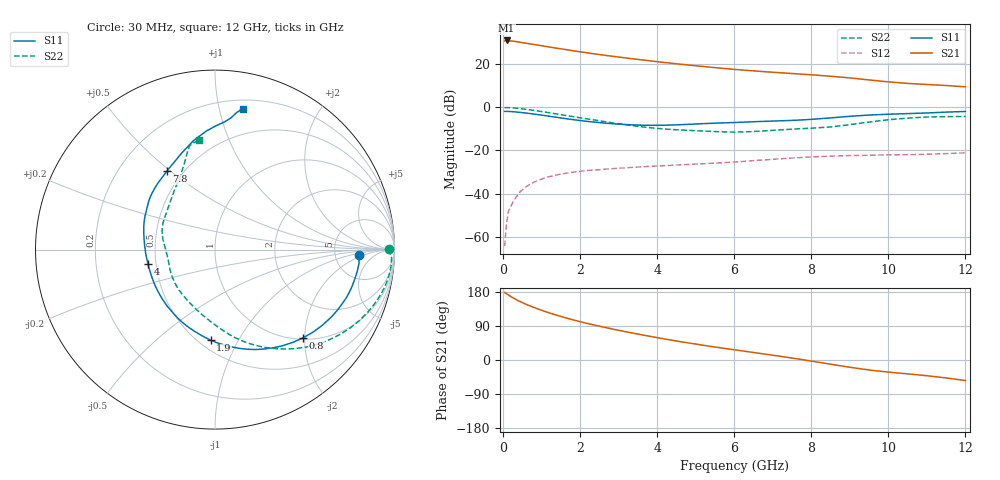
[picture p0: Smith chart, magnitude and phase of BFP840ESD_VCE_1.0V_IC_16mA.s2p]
! Infineon Technologies  Discrete & RF Semiconductors
! BFP840ESD
! VCE =  1.0 V,  IC =  16 mA
! Common Emitter S-Parameters:  May 2012
# GHz  S  MA  R  50
!  f  S11  S21  S12  S22
! GHz  MAG  ANG  MAG  ANG  MAG  ANG  MAG  ANG
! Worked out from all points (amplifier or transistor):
!   93 points, 30 MHz to 12 GHz, reference 50 ohm
!   highest |S21| = 31.0 dB at 80 MHz (marker M1)
!   |S21| within 3 dB of that: start of sweep to 1.177 GHz
!   unconditionally stable (mu >= 1): 4.988 GHz to 9.754 GHz
!   at 1.1 GHz: K = 0.36, MSG = 30.4 dB, |S12| = -32.6 dB
!   at 4.2 GHz: K = 0.92, MSG = 23.9 dB, |S12| = -27.1 dB
!   at 12 GHz: K = 0.78, MSG = 15.3 dB, |S12| = -21.1 dB
!   S11 on the Smith chart (normalised r, x): 30 MHz: 8.95, -1.41; 800 MHz: 1.03, -1.96; 1.9 GHz: 0.57, -0.77; 4 GHz: 0.45, -0.08; 7.8 GHz: 0.41, +0.49; 12 GHz: 0.27, +1.18
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0.03  0.8034 -2.0  34.56 178.2  0.0006 82.8  0.9703 0.2
0.08  0.8062 -5.2  35.56 174.7  0.002 74.3  0.9852 -2.7
0.23  0.7916 -14.5  34.34 165.1  0.006 80.4  0.9741 -10.6
0.38  0.7697 -23.2  32.8 156.7  0.0096 76.1  0.9456 -17.4
0.6  0.7327 -34.9  30.55 146.4  0.0146 69.3  0.8948 -26.4
0.8  0.6948 -45.0  28.61 138.3  0.0184 64.2  0.8454 -33.7
1  0.6563 -54.5  26.72 130.9  0.0218 59.0  0.7945 -40.5
1.3  0.6004 -68.0  24.17 120.8  0.026 52.9  0.7195 -49.7
1.6  0.5487 -80.6  21.96 111.7  0.0293 47.8  0.6505 -58.1
1.9  0.5051 -92.7  19.95 103.5  0.032 43.4  0.5894 -65.7
2.1  0.4797 -100.4  18.77 98.4  0.0336 41.2  0.5528 -70.5
2.4  0.4501 -111.7  17.18 91.3  0.0353 38.5  0.5019 -77.4
2.9  0.413 -129.9  15.01 80.3  0.0381 34.9  0.4268 -88.6
3.4  0.3902 -147.5  13.22 70.2  0.0407 32.4  0.3703 -101.0
4  0.3822 -168.1  11.44 58.9  0.0436 29.5  0.3236 -117.5
4.1  0.3828 -171.3  11.18 57.1  0.0438 29.2  0.3184 -120.4
5.2  0.4183 161.4  8.826 38.7  0.0491 25.3  0.2809 -149.1
6.1  0.4474 147.2  7.456 25.5  0.0545 23.3  0.2676 -170.6
7.8  0.5123 121.5  5.835 0.4  0.0689 14.1  0.3212 155.2
8.5  0.5682 109.2  5.255 -11.1  0.0735 8.4  0.3503 138.2
10.5  0.714 85.7  3.587 -36.5  0.0797 -5.6  0.5613 106.0
12  0.8007 78.9  2.989 -54.1  0.0879 -12.4  0.6143 98.2
